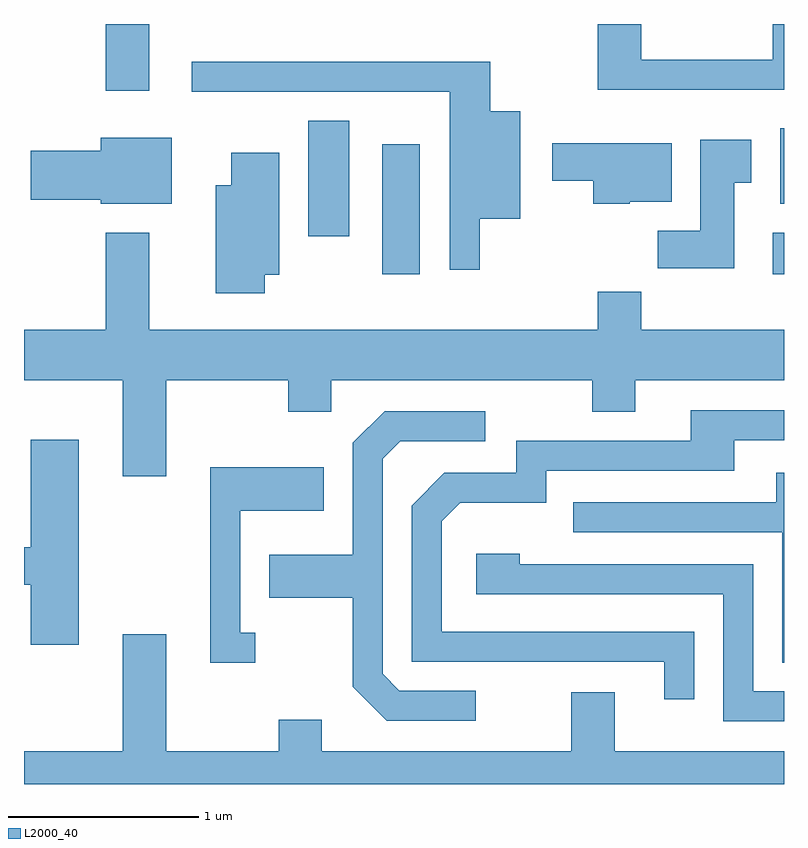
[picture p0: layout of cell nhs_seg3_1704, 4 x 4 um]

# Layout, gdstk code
import gdstk
lib = gdstk.Library(unit=1e-6, precision=1e-09)
def R(c, l, rs):  # rectangles x0, y0, x1, y1
    for r in rs: c.add(gdstk.rectangle(r[:2], r[2:], *l))
def P(c, l, *ps):  # polygons
    for p in ps: c.add(gdstk.Polygon(p, *l))
L2000_40 = (2000, 40)

nhs_seg3_1704 = lib.new_cell('nhs_seg3_1704')
R(nhs_seg3_1704, L2000_40, [(237.496,1126.576,237.694,1127.259), (239.551,1126.576,239.611,1126.794), (237.106,1126.776,237.324,1127.384), (239.591,1126.946,239.611,1127.344), (236.041,1127.541,236.269,1127.892)])
P(nhs_seg3_1704, L2000_40, [(239.611,1127.892),(239.551,1127.892),(239.551,1127.704),(238.859,1127.704),(238.859,1127.892),(238.631,1127.892),(238.631,1127.546),(239.611,1127.546)],
  [(238.009,1126.866),(238.224,1126.866),(238.224,1127.434),(238.064,1127.434),(238.064,1127.694),(236.493,1127.694),(236.493,1127.536),(237.851,1127.536),(237.851,1126.598),(238.009,1126.598)],
  [(236.389,1127.294),(236.016,1127.294),(236.016,1127.224),(235.646,1127.224),(235.646,1126.966),(236.016,1126.966),(236.016,1126.946),(236.389,1126.946)],
  [(239.349,1127.056),(239.439,1127.056),(239.439,1127.284),(239.171,1127.284),(239.171,1126.804),(238.946,1126.804),(238.946,1126.606),(239.349,1126.606)],
  [(238.8,1126.956),(239.019,1126.956),(239.019,1127.264),(238.391,1127.264),(238.391,1127.066),(238.606,1127.066),(238.606,1126.946),(238.8,1126.946)],
  [(236.879,1126.571),(236.954,1126.571),(236.954,1127.214),(236.701,1127.214),(236.701,1127.044),(236.621,1127.044),(236.621,1126.476),(236.879,1126.476)],
  [(236.269,1126.794),(236.041,1126.794),(236.041,1126.284),(235.611,1126.284),(235.611,1126.016),(236.131,1126.016),(236.131,1125.511),(236.359,1125.511),(236.359,1126.016),(237.001,1126.016),(237.001,1125.851),(237.229,1125.851),(237.229,1126.016),(238.601,1126.016),(238.601,1125.851),(238.829,1125.851),(238.829,1126.016),(239.611,1126.016),(239.611,1126.284),(238.859,1126.284),(238.859,1126.484),(238.631,1126.484),(238.631,1126.284),(236.269,1126.284)],
  [(239.139,1124.694),(237.809,1124.694),(237.809,1125.274),(237.907,1125.371),(238.359,1125.371),(238.359,1125.541),(239.349,1125.541),(239.349,1125.701),(239.611,1125.701),(239.611,1125.859),(239.121,1125.859),(239.121,1125.699),(238.201,1125.699),(238.201,1125.529),(237.824,1125.529),(237.651,1125.357),(237.651,1124.536),(238.981,1124.536),(238.981,1124.338),(239.139,1124.338)],
  [(237.988,1124.384),(237.587,1124.384),(237.499,1124.472),(237.499,1125.604),(237.592,1125.696),(238.038,1125.696),(238.038,1125.854),(237.509,1125.854),(237.341,1125.687),(237.341,1125.099),(236.901,1125.099),(236.901,1124.871),(237.341,1124.871),(237.341,1124.404),(237.519,1124.226),(237.988,1124.226)],
  [(235.899,1125.704),(235.646,1125.704),(235.646,1125.139),(235.611,1125.139),(235.611,1124.941),(235.646,1124.941),(235.646,1124.626),(235.899,1124.626)],
  [(236.828,1124.689),(236.749,1124.689),(236.749,1125.331),(237.189,1125.331),(237.189,1125.559),(236.591,1125.559),(236.591,1124.531),(236.828,1124.531)],
  [(239.611,1125.529),(239.571,1125.529),(239.571,1125.374),(238.503,1125.374),(238.503,1125.216),(239.601,1125.216),(239.601,1124.531),(239.611,1124.531)],
  [(239.611,1124.379),(239.449,1124.379),(239.449,1125.049),(238.219,1125.049),(238.219,1125.104),(237.991,1125.104),(237.991,1124.891),(239.291,1124.891),(239.291,1124.221),(239.611,1124.221)],
  [(238.491,1124.374),(238.491,1124.064),(237.179,1124.064),(237.179,1124.229),(236.951,1124.229),(236.951,1124.064),(236.359,1124.064),(236.359,1124.679),(236.131,1124.679),(236.131,1124.064),(235.611,1124.064),(235.611,1123.892),(239.611,1123.892),(239.611,1124.064),(238.719,1124.064),(238.719,1124.374)])

lib.write_gds('nhs_seg3_1704.gds')
